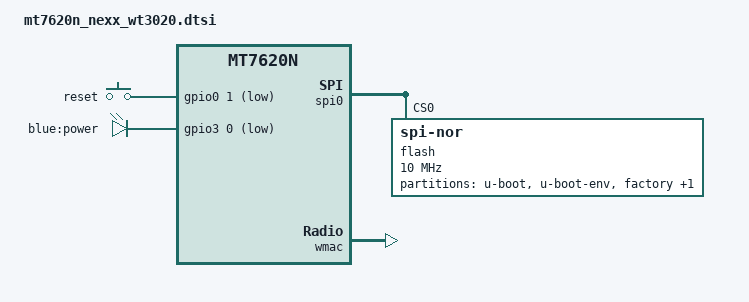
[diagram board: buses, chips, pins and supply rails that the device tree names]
#include "mt7620n.dtsi"

#include <dt-bindings/gpio/gpio.h>
#include <dt-bindings/input/input.h>

/ {
	compatible = "nexx,wt3020", "ralink,mt7620n-soc";

	aliases {
		led-boot = &led_power;
		led-failsafe = &led_power;
		led-running = &led_power;
		led-upgrade = &led_power;
		label-mac-device = &ethernet;
	};

	keys {
		compatible = "gpio-keys";

		reset {
			label = "reset";
			gpios = <&gpio0 1 GPIO_ACTIVE_LOW>;
			linux,code = <KEY_RESTART>;
		};
	};

	leds {
		compatible = "gpio-leds";

		led_power: power {
			label = "blue:power";
			gpios = <&gpio3 0 GPIO_ACTIVE_LOW>;
		};
	};
};

&spi0 {
	status = "okay";

	flash@0 {
		compatible = "jedec,spi-nor";
		reg = <0>;
		spi-max-frequency = <10000000>;

		partitions {
			compatible = "fixed-partitions";
			#address-cells = <1>;
			#size-cells = <1>;

			partition@0 {
				label = "u-boot";
				reg = <0x0 0x30000>;
				read-only;
			};

			partition@30000 {
				label = "u-boot-env";
				reg = <0x30000 0x10000>;
				read-only;
			};

			factory: partition@40000 {
				label = "factory";
				reg = <0x40000 0x10000>;
				read-only;
			};

			firmware: partition@50000 {
				compatible = "denx,uimage";
				label = "firmware";
				/* reg property is set based on flash size in DTS files */
			};
		};
	};
};

&gpio3 {
	status = "okay";
};

&ethernet {
	nvmem-cells = <&macaddr_factory_4>;
	nvmem-cell-names = "mac-address";

	mediatek,portmap = "wllll";
};

&wmac {
	ralink,mtd-eeprom = <&factory 0x0>;
};

&state_default {
	default {
		groups = "ephy", "wled", "pa", "i2c", "wdt", "uartf";
		function = "gpio";
	};
};

&factory {
	compatible = "nvmem-cells";
	#address-cells = <1>;
	#size-cells = <1>;

	macaddr_factory_4: macaddr@4 {
		reg = <0x4 0x6>;
	};
};
